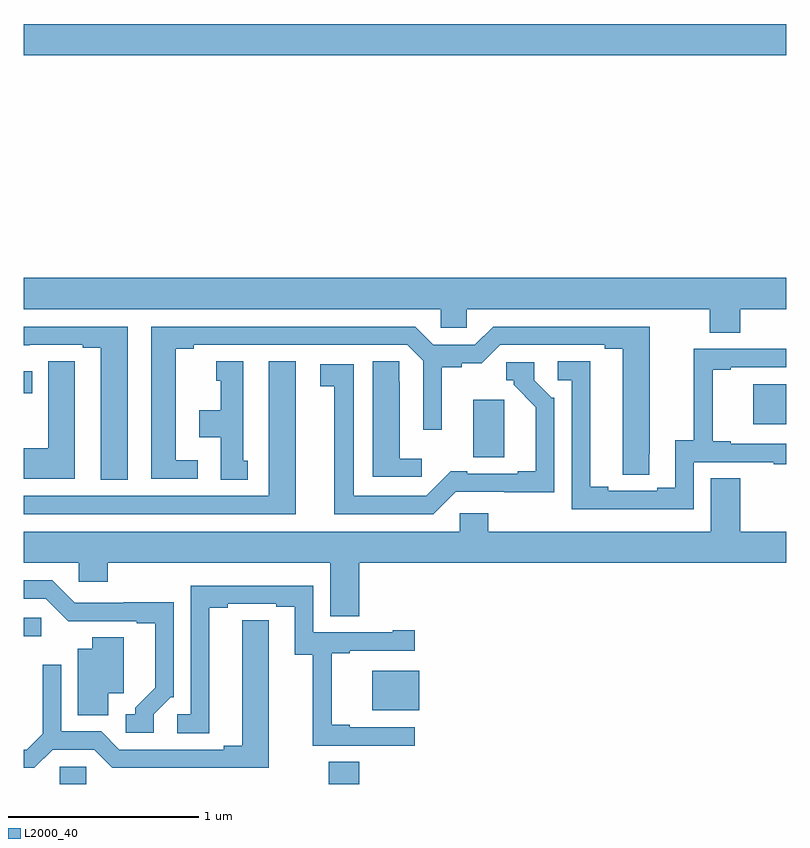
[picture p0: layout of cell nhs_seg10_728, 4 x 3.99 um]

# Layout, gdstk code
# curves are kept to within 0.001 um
import gdstk
lib = gdstk.Library(unit=1e-6, precision=1e-09)
def R(c, l, rs):  # rectangles x0, y0, x1, y1
    for r in rs: c.add(gdstk.rectangle(r[:2], r[2:], *l))
def P(c, l, *ps):  # polygons
    for p in ps: c.add(gdstk.Polygon(p, *l))
L2000_40 = (2000, 40)

nhs_seg10_728 = lib.new_cell('nhs_seg10_728')
R(nhs_seg10_728, L2000_40, [(147.189,1288.5,147.327,1288.59), (148.6,1288.5,148.76,1288.616), (148.829,1288.886,149.074,1289.095), (147,1289.276,147.091,1289.373), (150.827,1290.389,151,1290.598), (147,1290.55,147.043,1290.666), (147,1292.324,151,1292.488)])
P(nhs_seg10_728, L2000_40, [(150.758,1290.992),(151,1290.992),(151,1291.156),(147,1291.156),(147,1290.992),(149.187,1290.992),(149.187,1290.894),(149.325,1290.894),(149.325,1290.992),(150.598,1290.992),(150.598,1290.868),(150.758,1290.868)],
  [(147.913,1290.198),(147.796,1290.198),(147.796,1290.784),(147.892,1290.784),(147.892,1290.804),(149.013,1290.804),(149.097,1290.72),(149.097,1290.36),(149.194,1290.36),(149.194,1290.688),(149.298,1290.688),(149.298,1290.707),(149.402,1290.707),(149.499,1290.804),(150.047,1290.804),(150.047,1290.784),(150.143,1290.784),(150.143,1290.124),(150.282,1290.124),(150.283,1290.9),(149.463,1290.9),(149.367,1290.804),(149.149,1290.804),(149.053,1290.9),(147.668,1290.9),(147.668,1290.102),(147.913,1290.102)],
  [(147.544,1290.9),(147,1290.9),(147,1290.803),(147.032,1290.803),(147.032,1290.804),(147.308,1290.804),(147.308,1290.789),(147.404,1290.789),(147.404,1290.097),(147.544,1290.097)],
  [(150.516,1290.189),(150.935,1290.189),(150.935,1290.177),(151,1290.177),(151,1290.285),(150.709,1290.285),(150.709,1290.298),(150.614,1290.298),(150.614,1290.675),(150.709,1290.675),(150.709,1290.687),(151,1290.687),(151,1290.783),(150.514,1290.783),(150.514,1290.305),(150.419,1290.305),(150.419,1290.054),(150.323,1290.054),(150.323,1290.039),(150.067,1290.039),(150.067,1290.059),(149.971,1290.059),(149.971,1290.719),(149.802,1290.719),(149.802,1290.618),(149.874,1290.618),(149.874,1289.943),(150.516,1289.943)],
  [(147.268,1290.611),(147.267,1290.611),(147.267,1290.719),(147.128,1290.719),(147.128,1290.261),(147,1290.261),(147,1290.101),(147.268,1290.101)],
  [(149.089,1290.208),(148.972,1290.208),(148.972,1290.611),(148.971,1290.611),(148.971,1290.719),(148.832,1290.719),(148.832,1290.111),(149.089,1290.111)],
  [(148.174,1290.195),(148.15,1290.195),(148.15,1290.718),(148.01,1290.718),(148.01,1290.615),(148.034,1290.615),(148.034,1290.46),(147.92,1290.46),(147.92,1290.32),(148.034,1290.32),(148.034,1290.097),(148.174,1290.097)],
  [(148.426,1290.718),(148.286,1290.718),(148.286,1290.012),(147,1290.012),(147,1289.916),(148.426,1289.916)],
  [(149.265,1290.033),(149.784,1290.032),(149.784,1290.528),(149.769,1290.528),(149.679,1290.618),(149.679,1290.714),(149.532,1290.714),(149.532,1290.618),(149.571,1290.618),(149.571,1290.595),(149.687,1290.478),(149.687,1290.142),(149.591,1290.142),(149.591,1290.129),(149.326,1290.129),(149.326,1290.14),(149.24,1290.14),(149.112,1290.012),(148.732,1290.012),(148.732,1290.702),(148.554,1290.702),(148.554,1290.586),(148.628,1290.586),(148.628,1289.916),(149.148,1289.916)],
  [(149.521,1290.517),(149.357,1290.517),(149.357,1290.372),(149.359,1290.372),(149.359,1290.214),(149.521,1290.214)],
  [(148.76,1289.66),(151,1289.66),(151,1289.824),(150.758,1289.824),(150.758,1290.104),(150.605,1290.104),(150.605,1289.824),(149.438,1289.824),(149.438,1289.922),(149.286,1289.922),(149.286,1289.824),(147,1289.824),(147,1289.66),(147.288,1289.66),(147.288,1289.562),(147.44,1289.562),(147.44,1289.66),(148.607,1289.66),(148.607,1289.38),(148.76,1289.38)],
  [(147.681,1288.866),(147.771,1288.956),(147.786,1288.956),(147.786,1289.453),(147.523,1289.453),(147.523,1289.451),(147.267,1289.451),(147.15,1289.568),(147,1289.568),(147,1289.472),(147.114,1289.472),(147.232,1289.354),(147.593,1289.355),(147.593,1289.343),(147.689,1289.343),(147.689,1289.006),(147.584,1288.901),(147.584,1288.866),(147.534,1288.866),(147.534,1288.77),(147.681,1288.77)],
  [(149.05,1288.797),(148.711,1288.797),(148.711,1288.81),(148.616,1288.81),(148.616,1289.187),(148.711,1289.187),(148.711,1289.199),(149.05,1289.199),(149.05,1289.308),(148.937,1289.308),(148.937,1289.295),(148.518,1289.295),(148.518,1289.541),(147.876,1289.541),(147.876,1288.866),(147.804,1288.866),(147.804,1288.765),(147.973,1288.765),(147.973,1289.425),(148.069,1289.425),(148.069,1289.445),(148.325,1289.445),(148.325,1289.43),(148.421,1289.43),(148.421,1289.179),(148.516,1289.179),(148.516,1288.701),(149.05,1288.701)],
  [(147.151,1288.68),(147.369,1288.68),(147.465,1288.584),(148.285,1288.584),(148.284,1289.36),(148.145,1289.36),(148.145,1288.7),(148.049,1288.7),(148.049,1288.68),(147.501,1288.68),(147.405,1288.776),(147.195,1288.776),(147.195,1289.125),(147.099,1289.125),(147.099,1288.764),(147.015,1288.68),(147,1288.68),(147,1288.584),(147.055,1288.584)],
  [(147.442,1288.976),(147.523,1288.976),(147.523,1289.27),(147.359,1289.27),(147.359,1289.209),(147.284,1289.209),(147.284,1288.861),(147.442,1288.861)])

lib.write_gds('nhs_seg10_728.gds')
